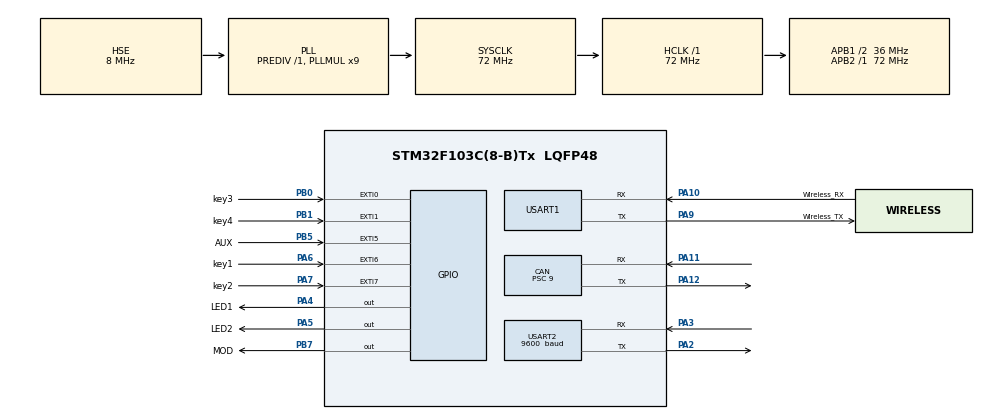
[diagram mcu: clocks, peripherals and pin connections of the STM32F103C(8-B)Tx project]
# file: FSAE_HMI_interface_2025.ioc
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CAN.BS1=CAN_BS1_5TQ
CAN.BS2=CAN_BS2_2TQ
CAN.CalculateBaudRate=500000
CAN.CalculateTimeBit=2000
CAN.CalculateTimeQuantum=250.0
CAN.Prescaler=9
Mcu.Family=STM32F1
Mcu.Name=STM32F103C(8-B)Tx
Mcu.Package=LQFP48
NVIC.CAN1_RX1_IRQn=true\:0\:0\:false\:false\:true\:true\:true\:true
NVIC.EXTI0_IRQn=true\:0\:0\:false\:false\:true\:true\:true\:true
NVIC.EXTI1_IRQn=true\:0\:0\:false\:false\:true\:true\:true\:true
NVIC.EXTI9_5_IRQn=true\:0\:0\:false\:false\:true\:true\:true\:true
NVIC.PriorityGroup=NVIC_PRIORITYGROUP_4
NVIC.TIM4_IRQn=true\:2\:0\:true\:false\:true\:true\:true\:true
NVIC.USART1_IRQn=true\:0\:0\:true\:false\:true\:true\:true\:true
NVIC.USART2_IRQn=true\:1\:0\:true\:false\:true\:true\:true\:true
NVIC.USB_LP_CAN1_RX0_IRQn=true\:0\:0\:false\:false\:true\:true\:true\:true
PA10.GPIO_Label=Wireless_RX
PA10.GPIO_PuPd=GPIO_PULLUP
PA10.Mode=Asynchronous
PA10.Signal=USART1_RX
PA11.Mode=CAN_Activate
PA11.Signal=CAN_RX
PA12.Mode=CAN_Activate
PA12.Signal=CAN_TX
PA13.Mode=Serial_Wire
PA13.Signal=SYS_JTMS-SWDIO
PA14.Mode=Serial_Wire
PA14.Signal=SYS_JTCK-SWCLK
PA2.Mode=Asynchronous
PA2.Signal=USART2_TX
PA3.GPIO_PuPd=GPIO_PULLUP
PA3.Mode=Asynchronous
PA3.Signal=USART2_RX
PA4.GPIO_Label=LED1
PA4.PinState=GPIO_PIN_SET
PA4.Signal=GPIO_Output
PA5.GPIO_Label=LED2
PA5.PinState=GPIO_PIN_SET
PA5.Signal=GPIO_Output
PA6.GPIO_Label=key1
PA6.Signal=GPXTI6
PA7.GPIO_Label=key2
PA7.Signal=GPXTI7
PA9.GPIO_Label=Wireless_TX
PA9.GPIO_Speed=GPIO_SPEED_FREQ_MEDIUM
PA9.Mode=Asynchronous
PA9.Signal=USART1_TX
PB0.GPIO_Label=key3
PB0.Signal=GPXTI0
PB1.GPIO_Label=key4
PB1.Signal=GPXTI1
PB5.GPIO_Label=AUX
PB5.GPIO_ModeDefaultEXTI=GPIO_MODE_IT_FALLING
PB5.GPIO_PuPd=GPIO_PULLUP
PB5.Signal=GPXTI5
PB7.GPIO_Label=MOD
PB7.GPIO_PuPd=GPIO_PULLDOWN
PB7.GPIO_Speed=GPIO_SPEED_FREQ_HIGH
PB7.PinState=GPIO_PIN_RESET
PB7.Signal=GPIO_Output
PC14-OSC32_IN.Mode=LSE-External-Oscillator
PC14-OSC32_IN.Signal=RCC_OSC32_IN
PC15-OSC32_OUT.Mode=LSE-External-Oscillator
PC15-OSC32_OUT.Signal=RCC_OSC32_OUT
PD0-OSC_IN.Mode=HSE-External-Oscillator
PD0-OSC_IN.Signal=RCC_OSC_IN
PD1-OSC_OUT.Mode=HSE-External-Oscillator
PD1-OSC_OUT.Signal=RCC_OSC_OUT
ProjectManager.HeapSize=0x200
ProjectManager.StackSize=0x400
ProjectManager.TargetToolchain=STM32CubeIDE
RCC.ADCPresc=RCC_ADCPCLK2_DIV6
RCC.AHBFreq_Value=72000000
RCC.APB1CLKDivider=RCC_HCLK_DIV2
RCC.APB1Freq_Value=36000000
RCC.APB1TimFreq_Value=72000000
RCC.APB2Freq_Value=72000000
RCC.APB2TimFreq_Value=72000000
RCC.HCLKFreq_Value=72000000
RCC.PLLMUL=RCC_PLL_MUL9
RCC.PLLSourceVirtual=RCC_PLLSOURCE_HSE
RCC.SYSCLKFreq_VALUE=72000000
RCC.SYSCLKSource=RCC_SYSCLKSOURCE_PLLCLK
RCC.USBFreq_Value=72000000
TIM4.Period=7199
USART1.VirtualMode=VM_ASYNC
USART2.BaudRate=9600 
USART2.VirtualMode=VM_ASYNC
VP_TIM4_VS_ClockSourceINT.Mode=Internal
board=custom

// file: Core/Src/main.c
/* USER CODE BEGIN Header */
/**
  ******************************************************************************
  * @file           : main.c
  * @brief          : Main program body
  ******************************************************************************
  * @attention
  *
  * Copyright (c) 2024 STMicroelectronics.
  * All rights reserved.
  *
  * This software is licensed under terms that can be found in the LICENSE file
  * in the root directory of this software component.
  * If no LICENSE file comes with this software, it is provided AS-IS.
  *
  * 锟斤拷锟斤拷锟斤拷锟斤拷锟斤拷锟斤拷
  * shaoqi 2024.8.21 锟斤拷锟斤拷说锟斤拷
  * 锟斤拷锟侥匡拷模锟絀nterface 锟斤拷频锟侥匡拷锟斤拷锟轿拷锟斤拷锟斤拷惴斤拷锟斤拷炭锟斤拷倏刹锟斤拷
  * 实锟斤拷原锟斤拷锟斤拷锟斤拷锟斤拷锟教诧拷片锟斤拷锟截碉拷锟脚猴拷通锟斤拷锟斤拷锟斤拷锟斤拷锟酵碉拷锟斤拷示锟斤拷锟斤拷锟接讹拷锟斤拷锟斤拷锟斤拷示锟斤拷锟斤拷示锟斤拷锟斤拷
  * 锟斤拷锟斤拷锟斤拷锟斤拷锟斤拷锟斤拷
  *
  ******************************************************************************
  */
/* USER CODE END Header */
#include "main.h"
#include "can.h"
#include "tim.h"
#include "usart.h"
#include "gpio.h"

/* USER CODE BEGIN Includes */
#include "stdio.h"
#include "atk_mw1278d.h"
#include "atk_mw1278d_uart.h"
#include "demo.h"
#include "delay.h"
/* USER CODE END Includes */

/* USER CODE BEGIN PTD */
//HAL_StatusTypeDef HAL_UART_Receive(UART_HandleTypeDef *huart, uint8_t *pData, uint16_t Size, uint32_t Timeout);
//HAL_StatusTypeDef HAL_UART_Transmit(UART_HandleTypeDef *huart, uint8_t *pData, uint16_t Size, uint32_t Timeout);
/* USER CODE END PTD */

/* USER CODE BEGIN PD */
#define FALSE 0
#define TRUE 1
/* USER CODE END PD */

/* USER CODE BEGIN PV */
extern int speed = -1;      //速度
extern int SOC = -1;        //SOC
extern int Mode_Index = 4;   //控制模式
extern int RPM[4] = {1000,-1,-1,999};
extern int Sum_Voltage=-1;           //总电压
extern int Top_Temperature=-1;           //单体最高温
extern int Sum_I=-1;                     //总电流
extern int acc_gl;                       //纵向加速度
extern int acc_gt;           //横向加速度
extern int torque_M[4];
extern uint8_t UART2_RX_Buffer = 0;
extern uint8_t mode_sent[8];
extern uint8_t UART2_RX_BUFFER [UART2_REC_LEN] = {0};
uint8_t *Rxbuf;
extern uint8_t RxFlag = 0;//send first
extern uint8_t g_rx_buffer;
int flag = 1 ;
/* USER CODE END PV */

void SystemClock_Config(void);

int main(void)
{

  /* MCU Configuration--------------------------------------------------------*/

  /* Reset of all peripherals, Initializes the Flash interface and the Systick. */
  HAL_Init();

  /* Configure the system clock */
  SystemClock_Config();

  /* Initialize all configured peripherals */
  MX_GPIO_Init();
  MX_USART1_UART_Init();
  MX_USART2_UART_Init();
  MX_CAN_Init();
  MX_TIM4_Init();
  /* USER CODE BEGIN 2 */
  CAN_Filter_Config();    //锟斤拷锟斤拷CAN锟剿诧拷锟斤拷
  HAL_CAN_Start(&hcan);   //锟斤拷锟斤拷can
  HAL_CAN_ActivateNotification(&hcan, CAN_IT_RX_FIFO0_MSG_PENDING); //锟斤拷锟斤拷FIFO0锟叫讹拷
  //wireless sent settings
  delay_init(25);                     /* 延时初始化 */
  demo_run();                         /* 运行示例程序并完成配置 */
  HAL_TIM_Base_Stop_IT(&htim4); // 停止TIM4及其中断
    __HAL_RCC_TIM4_CLK_DISABLE();
  HAL_UART_Receive_IT(&huart2,&UART2_RX_Buffer,sizeof(UART2_RX_Buffer));
  HAL_UART_Receive_IT(&huart1, (uint8_t*)&g_rx_buffer, RXBUFFERSIZE);

  /* USER CODE END 2 */

  /* Infinite loop */
  /* USER CODE BEGIN WHILE */

  while (1)
  {
	  HAL_GPIO_TogglePin(GPIOA, GPIO_PIN_4);
	 //锟斤拷询锟秸凤拷锟斤拷猓拷锟紺PU占锟矫较高ｏ拷JLY锟斤拷

//      /*原锟叫的凤拷锟酵硷拷锟斤拷锟斤拷*/
//	  if(flag==0)
//	  {
//		  uint8_t TX[4]={0x11,0x22,0x33,0x44};
//		  HAL_UART_Transmit_IT(&huart2,(unsigned char *)TX, strlen((char*)TX));
//		  HAL_UART_Transmit_IT(&huart2,(uint8_t*)"A",1);
//		  HAL_UART_Transmit(&huart2,"A", 1, 50);
//		  //HAL_GPIO_TogglePin(GPIOA, GPIO_PIN_4);
//	  }else if(flag==1)
//	  {
//		  uint8_t TX[4]={0x11,0x22,0x33,0x45};
//		  HAL_UART_Transmit_IT(&huart2,(unsigned char *)TX, strlen((char*)TX));
//		  HAL_UART_Transmit_IT(&huart2,(uint8_t*)"B",1);
//		  HAL_UART_Transmit(&huart2,"B", 1, 50);
//		  HAL_GPIO_TogglePin(GPIOA, GPIO_PIN_5);
//	  }
      /*锟斤拷锟斤拷锟斤拷锟捷革拷锟斤拷示锟斤拷*/

	if(RxFlag==0)
	{
  switch(flag){
    case 1:	  {send('A',speed);break;}
    case 2:   {send('B',SOC);break;}
    case 3:   {send('C',Sum_Voltage);break;}
    case 4:   {send('D',Top_Temperature);break;}
    case 5:   {send('E',Sum_I);break;}
    case 6:   {send('F',Mode_Index);break;}
    case 7:   {send_array('R',RPM,4);break;}
    case 8:	  {send_array('T',torque_M,4);break;}
    case 9:   {send('G',acc_gl);break;}
    case 10:  {send('H',acc_gt);break;}
    default:  {atk_mw1278d_uart_printf("A%d,%d,%d\r\n",acc_gt,acc_gl,speed);break;}
}
	flag>=10? flag=1:flag++;

	}else{
//           HAL_UART_Transmit(&huart1,(uint8_t*)"receiveM!\r\n",11,100);
           HAL_Delay(50);
           RxFlag = 0;
	}
	User_CAN_Send_sq(0x310,mode_sent);

////put atk_uart_send() into send() function
////test example
//      speed=(speed>0)? speed-1:90;
//      	  SOC=(SOC>4)? SOC-1:99;
//        	  Top_Temperature=(Top_Temperature>75)? 30:Top_Temperature+2;
//        	  P_FL=(P_FL==20)?50:20;
//        	  Sum_Voltage=(Sum_Voltage>50)?Sum_Voltage-100:550;
//        	  Sum_I=(Sum_I+1)/2;
//      	  HAL_GPIO_TogglePin(GPIOA,GPIO_PIN_5);
//        User_CAN_Send_sq(0x03,CAN_RxData);
 //锟饺达拷,锟斤拷止锟斤拷锟斤拷锟斤拷锟斤拷jly)
    /* USER CODE END WHILE */

    /* USER CODE BEGIN 3 */
	HAL_Delay(200);
  }
  /* USER CODE END 3 */
}

void SystemClock_Config(void)
{
  RCC_OscInitTypeDef RCC_OscInitStruct = {0};
  RCC_ClkInitTypeDef RCC_ClkInitStruct = {0};

  /** Initializes the RCC Oscillators according to the specified parameters
  * in the RCC_OscInitTypeDef structure.
  */
  RCC_OscInitStruct.OscillatorType = RCC_OSCILLATORTYPE_HSE;
  RCC_OscInitStruct.HSEState = RCC_HSE_ON;
  RCC_OscInitStruct.HSEPredivValue = RCC_HSE_PREDIV_DIV1;
  RCC_OscInitStruct.HSIState = RCC_HSI_ON;
  RCC_OscInitStruct.PLL.PLLState = RCC_PLL_ON;
  RCC_OscInitStruct.PLL.PLLSource = RCC_PLLSOURCE_HSE;
  RCC_OscInitStruct.PLL.PLLMUL = RCC_PLL_MUL9;
  if (HAL_RCC_OscConfig(&RCC_OscInitStruct) != HAL_OK)
  {
    Error_Handler();
  }

  /** Initializes the CPU, AHB and APB buses clocks
  */
  RCC_ClkInitStruct.ClockType = RCC_CLOCKTYPE_HCLK|RCC_CLOCKTYPE_SYSCLK
                              |RCC_CLOCKTYPE_PCLK1|RCC_CLOCKTYPE_PCLK2;
  RCC_ClkInitStruct.SYSCLKSource = RCC_SYSCLKSOURCE_PLLCLK;
  RCC_ClkInitStruct.AHBCLKDivider = RCC_SYSCLK_DIV1;
  RCC_ClkInitStruct.APB1CLKDivider = RCC_HCLK_DIV2;
  RCC_ClkInitStruct.APB2CLKDivider = RCC_HCLK_DIV1;

  if (HAL_RCC_ClockConfig(&RCC_ClkInitStruct, FLASH_LATENCY_2) != HAL_OK)
  {
    Error_Handler();
  }
}

/* USER CODE BEGIN 4 */
int fputc(int ch, FILE*f)
{
	uint8_t temp[1] = {ch};
	//锟斤拷询锟斤拷锟斤拷1锟街斤拷锟斤拷锟斤拷
	HAL_UART_Transmit(&huart1,temp,1,2);
	return ch;
}
int fgetc(FILE *f)
{
	uint8_t ch;
	// 锟斤拷锟斤拷锟斤拷询锟斤拷式锟斤拷锟斤拷 1锟街斤拷锟斤拷锟捷ｏ拷锟斤拷时时锟斤拷锟斤拷锟斤拷为锟斤拷锟睫等达拷
	HAL_UART_Receive( &huart1,(uint8_t*)&ch,1, HAL_MAX_DELAY );

	return ch;
}

/**
  * @brief  EXTI线中断检测回调函数。
  * @param  GPIO_Pin: 触发中断的引脚号
  * @retval None
  */
void HAL_GPIO_EXTI_Callback(uint16_t GPIO_Pin)
{
    /* 判断是否是PB5（AUX引脚）触发的中断 */
    if (GPIO_Pin == AUX_Pin)
    {
        /* 再次确认当前引脚电平，确保是下降沿（模块闲） */
        if (HAL_GPIO_ReadPin(AUX_GPIO_Port, AUX_Pin) == GPIO_PIN_RESET)
        {
            // 在这里处理模块变为空闲的事件
            // 例如：设置一个标志位，通知主循环可以发送下一条数据了
            RxFlag = 1;

            // 或者你可以直接在这里点亮一个LED作为指示
//            HAL_GPIO_TogglePin(GPIOA, GPIO_PIN_5);
        }
    }
}

/* USER CODE END 4 */

void Error_Handler(void)
{
  __disable_irq();
  while (1)
  {
  }
}
